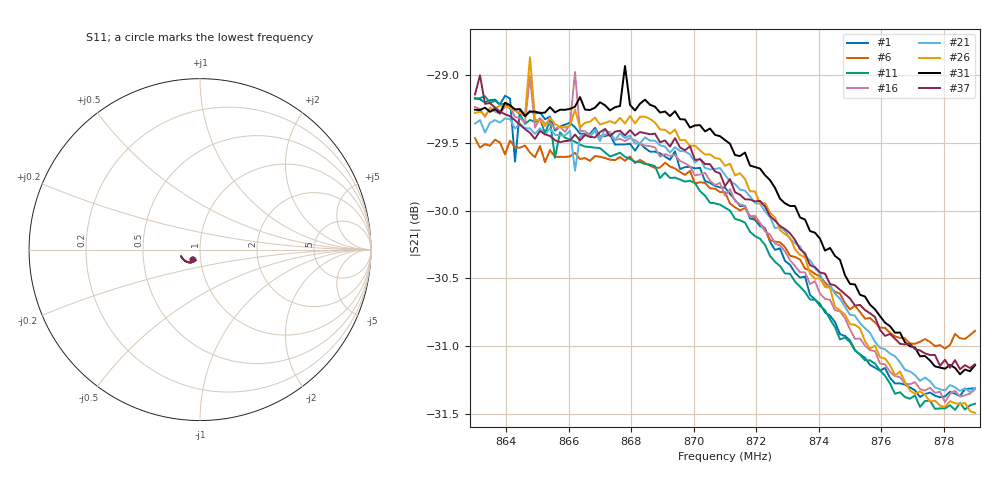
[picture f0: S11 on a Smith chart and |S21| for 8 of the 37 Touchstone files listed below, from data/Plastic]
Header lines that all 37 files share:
# HZ S RI R 50
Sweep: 863 MHz to 879 MHz
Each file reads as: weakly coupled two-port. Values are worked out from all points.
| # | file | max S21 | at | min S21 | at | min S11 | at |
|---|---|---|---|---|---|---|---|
| 1 | po20s8.s2p | -29.16 dB | 863.96 MHz | -31.4 dB | 877.88 MHz | -24.0 dB | 864.44 MHz |
| 2 | po20s9.s2p | -29.08 dB | 863 MHz | -31.3 dB | 877.88 MHz | -23.8 dB | 865.08 MHz |
| 3 | po21s4.s2p | -28.72 dB | 863 MHz | -31.5 dB | 878.2 MHz | -23.7 dB | 864.92 MHz |
| 4 | po21s5.s2p | -28.95 dB | 863.64 MHz | -31.4 dB | 877.72 MHz | -23.8 dB | 863.8 MHz |
| 5 | po22s11.s2p | -29.35 dB | 863.64 MHz | -31.5 dB | 878.04 MHz | -23.6 dB | 865.4 MHz |
| 6 | po22s12.s2p | -29.47 dB | 863 MHz | -31.0 dB | 878.04 MHz | -23.9 dB | 864.92 MHz |
| 7 | po23s8.s2p | -28.89 dB | 863.16 MHz | -31.2 dB | 877.88 MHz | -23.7 dB | 865.24 MHz |
| 8 | po24s4.s2p | -29.79 dB | 863.96 MHz | -31.4 dB | 878.04 MHz | -23.8 dB | 864.92 MHz |
| 9 | po24s5.s2p | -29.70 dB | 863.48 MHz | -31.5 dB | 878.2 MHz | -24.1 dB | 863.48 MHz |
| 10 | po25s3.s2p | -29.28 dB | 863 MHz | -31.3 dB | 877.88 MHz | -23.7 dB | 864.92 MHz |
| 11 | po25s4.s2p | -29.16 dB | 863.32 MHz | -31.5 dB | 878.36 MHz | -23.7 dB | 865.4 MHz |
| 12 | po25s5.s2p | -28.83 dB | 863.32 MHz | -31.3 dB | 878.68 MHz | -24.0 dB | 864.44 MHz |
| 13 | po26s0.s2p | -29.17 dB | 863.8 MHz | -31.4 dB | 877.88 MHz | -23.5 dB | 864.44 MHz |
| 14 | po26s1.s2p | -29.38 dB | 863.64 MHz | -31.5 dB | 878.04 MHz | -23.4 dB | 865.24 MHz |
| 15 | po26s4.s2p | -28.98 dB | 863.32 MHz | -31.6 dB | 878.52 MHz | -23.7 dB | 864.92 MHz |
| 16 | po26s9.s2p | -28.98 dB | 866.2 MHz | -31.4 dB | 878.04 MHz | -23.6 dB | 864.44 MHz |
| 17 | po27s6.s2p | -28.80 dB | 863.32 MHz | -31.5 dB | 878.68 MHz | -23.8 dB | 865.24 MHz |
| 18 | po27s8.s2p | -29.15 dB | 864.12 MHz | -31.3 dB | 878.68 MHz | -23.7 dB | 864.92 MHz |
| 19 | po27s9.s2p | -29.18 dB | 867 MHz | -31.2 dB | 878.04 MHz | -23.8 dB | 864.92 MHz |
| 20 | po28s2.s2p | -29.18 dB | 863.48 MHz | -31.5 dB | 878.52 MHz | -23.7 dB | 864.92 MHz |
| 21 | po28s4.s2p | -29.32 dB | 863.96 MHz | -31.3 dB | 878.84 MHz | -23.6 dB | 865.4 MHz |
| 22 | po28s5.s2p | -29.46 dB | 863.96 MHz | -31.3 dB | 878.04 MHz | -23.7 dB | 864.44 MHz |
| 23 | po28s8.s2p | -29.25 dB | 863.64 MHz | -31.4 dB | 878.52 MHz | -23.7 dB | 863.48 MHz |
| 24 | po29s0.s2p | -29.37 dB | 863.48 MHz | -31.5 dB | 878.84 MHz | -23.7 dB | 865.4 MHz |
| 25 | po29s3.s2p | -29.07 dB | 863 MHz | -31.4 dB | 878.2 MHz | -23.7 dB | 864.44 MHz |
| 26 | po29s4.s2p | -28.87 dB | 864.76 MHz | -31.5 dB | 879 MHz | -24.1 dB | 864.76 MHz |
| 27 | po29s8.s2p | -29.12 dB | 863.8 MHz | -31.6 dB | 878.84 MHz | -23.8 dB | 865.24 MHz |
| 28 | po30s6.s2p | -29.23 dB | 863.16 MHz | -31.6 dB | 878.84 MHz | -23.6 dB | 865.4 MHz |
| 29 | po30s7.s2p | -29.23 dB | 863 MHz | -31.5 dB | 878.04 MHz | -23.6 dB | 864.44 MHz |
| 30 | po30s10.s2p | -29.55 dB | 864.76 MHz | -32.0 dB | 877.88 MHz | -23.9 dB | 866.04 MHz |
| 31 | po30s12.s2p | -28.94 dB | 867.8 MHz | -31.2 dB | 878.52 MHz | -23.7 dB | 864.44 MHz |
| 32 | po30s15.s2p | -29.12 dB | 863.64 MHz | -31.2 dB | 878.52 MHz | -23.7 dB | 864.12 MHz |
| 33 | po31s4.s2p | -28.85 dB | 864.44 MHz | -31.1 dB | 878.52 MHz | -24.4 dB | 864.44 MHz |
| 34 | po32s1.s2p | -29.44 dB | 863 MHz | -31.3 dB | 878.84 MHz | -23.7 dB | 864.44 MHz |
| 35 | po32s3.s2p | -28.94 dB | 867.16 MHz | -31.3 dB | 877.88 MHz | -23.7 dB | 864.44 MHz |
| 36 | po32s4.s2p | -29.27 dB | 863.32 MHz | -31.2 dB | 879 MHz | -23.8 dB | 865.4 MHz |
| 37 | po32s6.s2p | -29.01 dB | 863.16 MHz | -31.2 dB | 878.52 MHz | -23.7 dB | 865.56 MHz |
